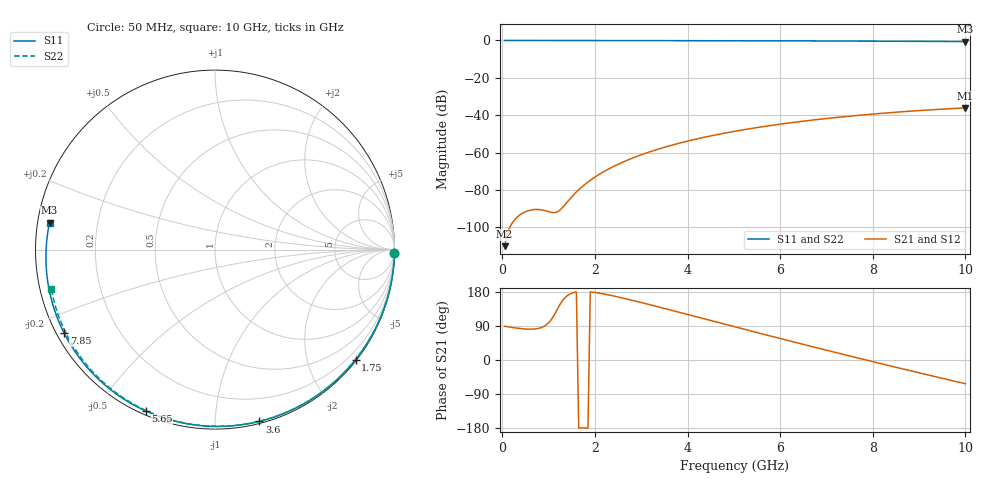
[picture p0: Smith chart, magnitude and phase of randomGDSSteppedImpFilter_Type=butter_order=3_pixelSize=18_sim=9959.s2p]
! freq	dB(S11)	phase(S11)	dB(S12)	phase(S12)
!  dB(S21)	phase(S21)	dB(S22)	phase(S22)
!S-par simulation data
#  GHz  S  DB  R 50
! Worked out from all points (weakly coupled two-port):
!   200 points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, 50 MHz to 10 GHz, reference 50 ohm
!   highest |S21| = -36.09 dB at 10 GHz (marker M1); lowest = -110.1 dB at 50 MHz (marker M2)
!   lowest |S11| = -0.6 dB at 10 GHz (marker M3), VSWR 29.34, Z = 1.72 + j4.03 ohm
!   |S11| at or under -10 dB: nowhere
!   |S22| runs from -0.6 to 0.0 dB; largest |S21 - S12| = 0
!   S11 on the Smith chart (normalised r, x): 50 MHz: open; 1.75 GHz: 0.03, -2.90; 3.6 GHz: 0.02, -1.29; 5.65 GHz: 0.02, -0.66; 7.85 GHz: 0.02, -0.26; 10 GHz: 0.03, +0.08
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0.05  -0.00 -1.1  -110.13 89.0  -110.13 89.0  -0.00 -1.0
0.4  -0.01 -8.9  -93.05 82.9  -93.05 82.9  -0.01 -7.7
0.8  -0.02 -17.6  -90.55 84.0  -90.55 84.0  -0.02 -15.3
1.2  -0.03 -26.3  -91.58 136.5  -91.58 136.5  -0.03 -22.8
1.6  -0.04 -34.9  -81.10 179.7  -81.10 179.7  -0.04 -30.2
1.65  -0.05 -35.9  -79.92 -179.6  -79.92 -179.6  -0.04 -31.2
1.75  -0.05 -38.0  -77.74 -179.1  -77.74 -179.1  -0.04 -33.0
2.05  -0.06 -44.3  -72.34 177.3  -72.34 177.3  -0.05 -38.5
2.45  -0.07 -52.6  -66.88 167.7  -66.88 167.7  -0.06 -45.8
2.9  -0.08 -61.8  -62.13 154.8  -62.13 154.8  -0.07 -53.8
3.4  -0.09 -71.7  -57.93 139.3  -57.93 139.3  -0.08 -62.6
3.6  -0.10 -75.5  -56.48 133.0  -56.48 133.0  -0.09 -66.0
4.3  -0.13 -88.8  -52.16 110.6  -52.16 110.6  -0.11 -77.8
5.05  -0.16 -102.6  -48.48 86.7  -48.48 86.7  -0.14 -90.1
5.65  -0.19 -113.2  -46.06 67.7  -46.06 67.7  -0.17 -99.7
6.15  -0.22 -122.0  -44.32 52.0  -44.32 52.0  -0.19 -107.5
6.7  -0.25 -131.4  -42.63 35.0  -42.63 35.0  -0.23 -115.9
7.3  -0.30 -141.7  -41.02 16.7  -41.02 16.7  -0.27 -125.1
7.85  -0.35 -151.1  -39.73 0.1  -39.73 0.1  -0.32 -133.4
8.35  -0.40 -159.7  -38.70 -14.8  -38.70 -14.8  -0.36 -140.9
9.2  -0.49 -174.6  -37.21 -39.7  -37.21 -39.7  -0.45 -153.9
10  -0.59 170.8  -36.09 -62.6  -36.09 -62.6  -0.55 -166.5
